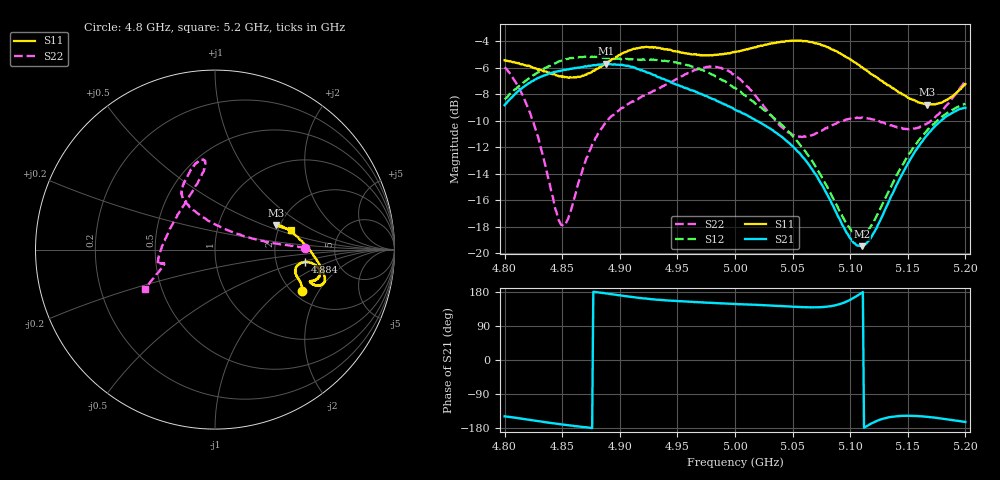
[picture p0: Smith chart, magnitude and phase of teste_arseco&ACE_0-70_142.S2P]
! Network Analyzer HP8722D
! Hewlett-Packard
! Data name: Linha & Wilkinson
! Saver's name: Rodrigo Anjos
! Comments: Teste da utilização de aquisição
! continua pelo VNA HP8722D
! Time and date: 8/5/2025 13:56
!  Frequency  S11  S21  S12  S22
# HZ  S  MA R 50
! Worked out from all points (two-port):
!   401 points, 4.8 GHz to 5.2 GHz, reference 50 ohm
!   highest |S21| = -5.69 dB at 4.888 GHz (marker M1); lowest = -19.4 dB at 5.11 GHz (marker M2)
!   |S21| within 3 dB of the highest: 4.801 GHz to 4.989 GHz (187.7 MHz wide, 3.83 % of centre)
!   lowest |S11| = -8.8 dB at 5.167 GHz (marker M3), VSWR 2.15, Z = 94.8 + j30 ohm
!   |S11| at or under -10 dB: nowhere
!   |S22| runs from -17.9 to -5.9 dB; largest |S21 - S12| = 1.1
!   S11 on the Smith chart (normalised r, x): 4.8 GHz: 2.23, -1.44; 4.884 GHz: 2.96, -0.54; 5.2 GHz: 2.34, +0.64
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4.8e9  0.5356 -25.4  0.3628 -148.7  0.3813 10.6  0.5037 1.3
4.812e9  0.5234 -22.4  0.4104 -153.5  0.4269 8.8  0.4242 2.7
4.823e9  0.5057 -20.4  0.4447 -158.6  0.4648 7.5  0.3301 6.1
4.849e9  0.4667 -16.2  0.4899 -169.9  0.5338 3.2  0.1283 58.2
4.855e9  0.4615 -14.6  0.495 -172.1  0.5422 2.2  0.1345 84.4
4.867e9  0.4666 -11.0  0.5044 -176.5  0.5507 0.5  0.2016 112.2
4.884e9  0.5079 -7.6  0.5169 177.2  0.547 -0.8  0.2959 121.2
4.888e9  0.5219 -7.8  0.5196 175.7  0.5457 -0.8  0.3119 121.9
4.911e9  0.589 -10.5  0.5061 166.0  0.5406 -0.4  0.3752 119.9
4.934e9  0.5965 -15.6  0.4622 158.6  0.5369 -1.3  0.4185 113.2
4.976e9  0.5592 -18.6  0.3913 151.4  0.483 -4.9  0.5059 99.3
5e9  0.5764 -19.4  0.3485 147.8  0.4224 -5.0  0.4704 96.9
5.018e9  0.5995 -19.5  0.318 145.7  0.3666 -2.6  0.3928 103.5
5.044e9  0.6333 -17.6  0.2674 141.7  0.2954 3.1  0.2901 131.3
5.067e9  0.6278 -13.4  0.2077 139.0  0.2232 9.5  0.2798 164.7
5.098e9  0.5469 -2.8  0.1181 156.0  0.1272 36.8  0.3213 -170.3
5.11e9  0.5049 2.7  0.1065 177.2  0.1174 60.5  0.326 -167.1
5.119e9  0.4736 7.2  0.1165 -166.6  0.1287 77.9  0.3208 -165.9
5.134e9  0.4295 14.4  0.1583 -150.9  0.1737 94.7  0.3057 -165.9
5.167e9  0.3647 22.1  0.2804 -150.1  0.292 102.6  0.3102 -161.2
5.182e9  0.3759 20.2  0.3259 -155.6  0.3331 102.8  0.3551 -157.0
5.2e9  0.4359 14.7  0.3541 -163.5  0.3681 103.0  0.4474 -150.5
